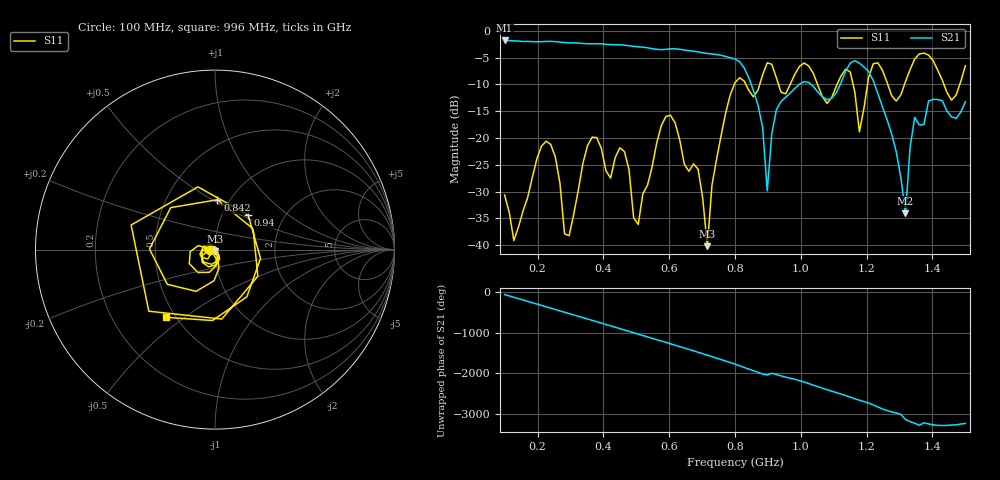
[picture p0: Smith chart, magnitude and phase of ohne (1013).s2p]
! NanoVNA-App
! Date: 2025-09-25 14:28:41
! Start: 100MHz Stop: 1,5GHz Points: 101
! S-Parameter data: F S11 S21 S12 S22
# Hz S RI R 50
!  Frequency  S11_Real  S11_Imag  S21_Real  S21_Imag  S12_Real  S12_Imag  S22_Real  S22_Imag
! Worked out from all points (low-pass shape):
!   101 points, 100 MHz to 1.5 GHz, reference 50 ohm
!   highest |S21| = -1.79 dB at 100 MHz (marker M1); lowest = -34.0 dB at 1.318 GHz (marker M2)
!   |S21| within 3 dB of the highest: start of sweep to 772.4 MHz
!   lowest |S11| = -40.2 dB at 716 MHz (marker M3), VSWR 1.02, Z = 49.8 - j0.956 ohm
!   |S11| at or under -10 dB: start of sweep to 797.9 MHz; 833.1 MHz to 875.1 MHz (42.04 MHz wide, 4.92 % of centre); 1.051 GHz to 1.11 GHz (59.57 MHz wide, 5.51 % of centre) (the widest 3 of 7)
!   S12 and S22 are empty: the file has one direction only
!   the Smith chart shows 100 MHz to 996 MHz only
!   S11 on the Smith chart (normalised r, x): 100 MHz: 0.94, -0.01; 842 MHz: 0.88, +0.53; 940 MHz: 1.32, +0.55; 996 MHz: 0.44, -0.43
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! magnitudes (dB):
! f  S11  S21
! 100 MHz  -30.6  -1.8
! 128 MHz  -39.1  -1.9
! 226 MHz  -20.6  -2.0
! 296 MHz  -38.2  -2.2
! 338 MHz  -24.7  -2.4
! 464 MHz  -22.5  -2.7
! 506 MHz  -36.1  -3.0
! 576 MHz  -17.7  -3.5
! 688 MHz  -25.8  -3.9
! 716 MHz  -40.2  -4.2
! 800 MHz  -9.7  -5.3
! 842 MHz  -11.1  -8.8
! 898 MHz  -6.0  -29.8
! 940 MHz  -11.5  -13.2
! 996 MHz  -6.6  -9.9
! 1.038 GHz  -7.9  -10.4
! 1.178 GHz  -18.8  -6.0
! 1.22 GHz  -6.1  -9.3
! 1.276 GHz  -12.1  -19.2
! 1.318 GHz  -9.5  -34.0
! 1.346 GHz  -5.2  -16.1
! 1.5 GHz  -6.5  -13.3
